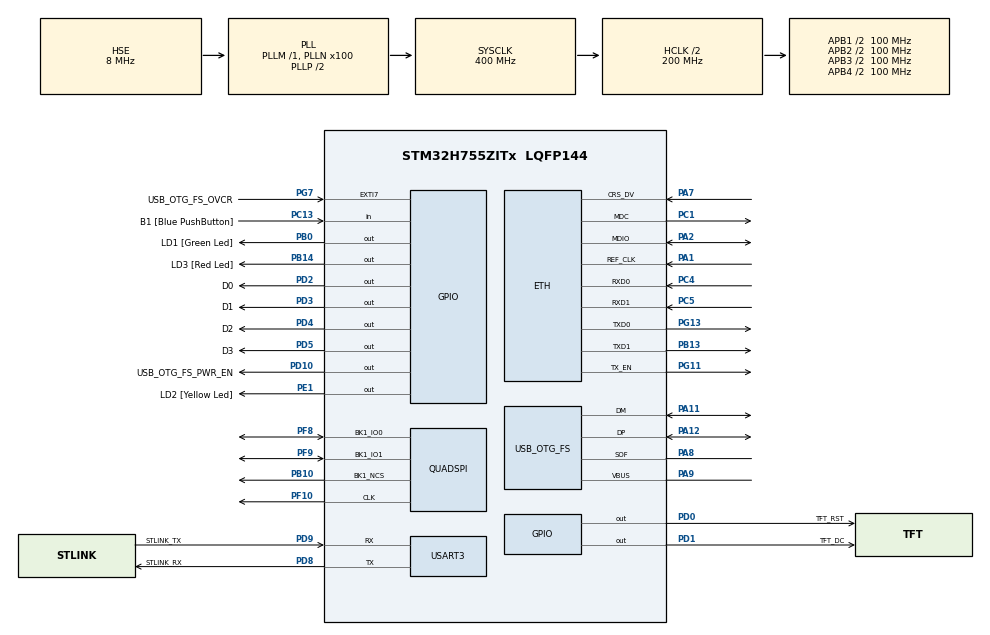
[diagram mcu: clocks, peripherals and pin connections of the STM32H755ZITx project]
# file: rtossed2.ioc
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CortexM4.IPs=FATFS_M4\:I,FREERTOS_M4\:I,IWDG2\:I,RCC,WWDG2\:I,DMA,BDMA,MDMA,NVIC2\:I,ETH,USART3,DEBUG,USB_DEVICE_M4\:I,USB_HOST_M4\:I,PDM2PCM_M4\:I,PWR,RESMGR_UTILITY,SYS_M4\:I,CORTEX_M4\:I,OPENAMP_M4\:I,VREFBUF,GPIO
CortexM7.IPs=FATFS_M7\:I,FREERTOS_M7\:I,IWDG1\:I,RCC\:I,WWDG1\:I,DMA\:I,BDMA\:I,MDMA\:I,NVIC1\:I,ETH\:I,USART3\:I,USB_OTG_FS\:I,SYS\:I,CORTEX_M7\:I,DEBUG\:I,USB_DEVICE_M7\:I,USB_HOST_M7\:I,PDM2PCM_M7\:I,PWR\:I,RESMGR_UTILITY\:I,OPENAMP_M7\:I,VREFBUF\:I,GPIO\:I,DMA2D\:I,QUADSPI\:I,TIM15\:I
DMA2D.ColorMode=DMA2D_OUTPUT_RGB565
ETH.MediaInterface=HAL_ETH_RMII_MODE
Mcu.Family=STM32H7
Mcu.Name=STM32H755ZITx
Mcu.Package=LQFP144
Mdma.MDMA_Channel0.QUADSPI_FIFO_TH.0.BlockCount=0
Mdma.MDMA_Channel0.QUADSPI_FIFO_TH.0.BlockDataLength=40960
Mdma.MDMA_Channel0.QUADSPI_FIFO_TH.0.BufferTransferLength=1
Mdma.MDMA_Channel0.QUADSPI_FIFO_TH.0.CircularMode=MDMA_LINEAR_LIST
Mdma.MDMA_Channel0.QUADSPI_FIFO_TH.0.DataAlignment=MDMA_DATAALIGN_PACKENABLE
Mdma.MDMA_Channel0.QUADSPI_FIFO_TH.0.DestBlockAddressOffset=0
Mdma.MDMA_Channel0.QUADSPI_FIFO_TH.0.DestBurst=MDMA_DEST_BURST_SINGLE
Mdma.MDMA_Channel0.QUADSPI_FIFO_TH.0.DestDataSize=MDMA_DEST_DATASIZE_BYTE
Mdma.MDMA_Channel0.QUADSPI_FIFO_TH.0.DestinationInc=MDMA_DEST_INC_BYTE
Mdma.MDMA_Channel0.QUADSPI_FIFO_TH.0.DstAddress=0
Mdma.MDMA_Channel0.QUADSPI_FIFO_TH.0.Endianness=MDMA_LITTLE_ENDIANNESS_PRESERVE
Mdma.MDMA_Channel0.QUADSPI_FIFO_TH.0.Instance=MDMA_Channel0
Mdma.MDMA_Channel0.QUADSPI_FIFO_TH.0.MaskAddress=0
Mdma.MDMA_Channel0.QUADSPI_FIFO_TH.0.MaskData=0
Mdma.MDMA_Channel0.QUADSPI_FIFO_TH.0.Priority=MDMA_PRIORITY_VERY_HIGH
Mdma.MDMA_Channel0.QUADSPI_FIFO_TH.0.Rank=First
Mdma.MDMA_Channel0.QUADSPI_FIFO_TH.0.SourceBlockAddressOffset=0
Mdma.MDMA_Channel0.QUADSPI_FIFO_TH.0.SourceBurst=MDMA_SOURCE_BURST_SINGLE
Mdma.MDMA_Channel0.QUADSPI_FIFO_TH.0.SourceDataSize=MDMA_SRC_DATASIZE_BYTE
Mdma.MDMA_Channel0.QUADSPI_FIFO_TH.0.SourceInc=MDMA_SRC_INC_BYTE
Mdma.MDMA_Channel0.QUADSPI_FIFO_TH.0.SrcAddress=0
Mdma.MDMA_Channel0.QUADSPI_FIFO_TH.0.TransferTriggerMode=MDMA_BUFFER_TRANSFER
Mdma.MDMA_Channel0.Request0=QUADSPI_FIFO_TH
Mdma.MDMA_Channel0.RequestsNb=1
Mdma.RequestSet0=MDMA_Channel0
Mdma.RequestSetsNb=1
NVIC1.MDMA_IRQn=true\:0\:0\:false\:false\:true\:false\:true\:true
NVIC1.OTG_FS_IRQn=true\:0\:0\:false\:false\:true\:false\:true\:true
NVIC1.PriorityGroup=NVIC_PRIORITYGROUP_4
NVIC1.QUADSPI_IRQn=true\:0\:0\:false\:false\:true\:true\:true\:true
NVIC1.TIM15_IRQn=true\:0\:0\:false\:false\:true\:true\:true\:true
NVIC2.PriorityGroup=NVIC_PRIORITYGROUP_4
PA1.Mode=RMII
PA1.PinAttribute=CortexM7
PA1.Signal=ETH_REF_CLK
PA11.Mode=Device_Only
PA11.PinAttribute=CortexM7
PA11.Signal=USB_OTG_FS_DM
PA12.Mode=Device_Only
PA12.PinAttribute=CortexM7
PA12.Signal=USB_OTG_FS_DP
PA2.Mode=RMII
PA2.PinAttribute=CortexM7
PA2.Signal=ETH_MDIO
PA7.Mode=RMII
PA7.PinAttribute=CortexM7
PA7.Signal=ETH_CRS_DV
PA8.Mode=Activate_SOF_FS
PA8.PinAttribute=CortexM7
PA8.Signal=USB_OTG_FS_SOF
PA9.Mode=Activate_VBUS
PA9.PinAttribute=CortexM7
PA9.Signal=USB_OTG_FS_VBUS
PB0.GPIO_Label=LD1 [Green Led]
PB0.PinAttribute=Free
PB0.Signal=GPIO_Output
PB10.Mode=Single Bank 1 2IOs
PB10.PinAttribute=CortexM7
PB10.Signal=QUADSPI_BK1_NCS
PB13.Mode=RMII
PB13.PinAttribute=CortexM7
PB13.Signal=ETH_TXD1
PB14.GPIO_Label=LD3 [Red Led]
PB14.PinAttribute=Free
PB14.Signal=GPIO_Output
PC1.Mode=RMII
PC1.PinAttribute=CortexM7
PC1.Signal=ETH_MDC
PC13.GPIO_Label=B1 [Blue PushButton]
PC13.PinAttribute=Free
PC13.Signal=GPIO_Input
PC14-OSC32_IN\ (OSC32_IN).Mode=LSE-External-Oscillator
PC14-OSC32_IN\ (OSC32_IN).PinAttribute=CortexM7
PC14-OSC32_IN\ (OSC32_IN).Signal=RCC_OSC32_IN
PC15-OSC32_OUT\ (OSC32_OUT).Mode=LSE-External-Oscillator
PC15-OSC32_OUT\ (OSC32_OUT).PinAttribute=CortexM7
PC15-OSC32_OUT\ (OSC32_OUT).Signal=RCC_OSC32_OUT
PC4.Mode=RMII
PC4.PinAttribute=CortexM7
PC4.Signal=ETH_RXD0
PC5.Mode=RMII
PC5.PinAttribute=CortexM7
PC5.Signal=ETH_RXD1
PD0.GPIO_Label=TFT_RST
PD0.PinAttribute=Free
PD0.Signal=GPIO_Output
PD1.GPIO_Label=TFT_DC
PD1.GPIO_Speed=GPIO_SPEED_FREQ_VERY_HIGH
PD1.PinAttribute=Free
PD1.Signal=GPIO_Output
PD10.GPIO_Label=USB_OTG_FS_PWR_EN
PD10.PinAttribute=Free
PD10.Signal=GPIO_Output
PD2.GPIO_Label=D0
PD2.GPIO_Speed=GPIO_SPEED_FREQ_VERY_HIGH
PD2.PinAttribute=Free
PD2.Signal=GPIO_Output
PD3.GPIO_Label=D1
PD3.GPIO_Speed=GPIO_SPEED_FREQ_VERY_HIGH
PD3.PinAttribute=Free
PD3.Signal=GPIO_Output
PD4.GPIO_Label=D2
PD4.GPIO_Speed=GPIO_SPEED_FREQ_VERY_HIGH
PD4.PinAttribute=Free
PD4.Signal=GPIO_Output
PD5.GPIO_Label=D3
PD5.GPIO_Speed=GPIO_SPEED_FREQ_VERY_HIGH
PD5.PinAttribute=Free
PD5.Signal=GPIO_Output
PD8.GPIO_Label=STLINK_RX
PD8.Mode=Asynchronous
PD8.PinAttribute=CortexM7
PD8.Signal=USART3_TX
PD9.GPIO_Label=STLINK_TX
PD9.Mode=Asynchronous
PD9.PinAttribute=CortexM7
PD9.Signal=USART3_RX
PE1.GPIO_Label=LD2 [Yellow Led]
PE1.PinAttribute=Free
PE1.Signal=GPIO_Output
PF10.Mode=Single Bank 1 2IOs
PF10.PinAttribute=CortexM7
PF10.Signal=QUADSPI_CLK
PF8.Mode=Single Bank 1 2IOs
PF8.PinAttribute=CortexM7
PF8.Signal=QUADSPI_BK1_IO0
PF9.Mode=Single Bank 1 2IOs
PF9.PinAttribute=CortexM7
PF9.Signal=QUADSPI_BK1_IO1
PG11.Mode=RMII
PG11.PinAttribute=CortexM7
PG11.Signal=ETH_TX_EN
PG13.Mode=RMII
PG13.PinAttribute=CortexM7
PG13.Signal=ETH_TXD0
PG7.GPIO_Label=USB_OTG_FS_OVCR
PG7.PinAttribute=Free
PG7.Signal=GPXTI7
PH0-OSC_IN\ (PH0).Mode=HSE-External-Clock-Source
PH0-OSC_IN\ (PH0).PinAttribute=CortexM7
PH0-OSC_IN\ (PH0).Signal=RCC_OSC_IN
PH1-OSC_OUT\ (PH1).PinAttribute=CortexM7
PH1-OSC_OUT\ (PH1).Signal=RCC_OSC_OUT
ProjectManager.HeapSize=M4-0x2000,M7-0x2000
ProjectManager.StackSize=M4-0x4000,M7-0x4000
ProjectManager.TargetToolchain=Makefile
QUADSPI.ClockPrescaler=16
QUADSPI.FlashSize=15
RCC.ADCFreq_Value=16125000
RCC.APB1Freq_Value=100000000
RCC.APB2Freq_Value=100000000
RCC.APB3Freq_Value=100000000
RCC.APB4Freq_Value=100000000
RCC.CortexFreq_Value=400000000
RCC.D1PPRE=RCC_APB3_DIV2
RCC.D2PPRE1=RCC_APB1_DIV2
RCC.D2PPRE2=RCC_APB2_DIV2
RCC.D3PPRE=RCC_APB4_DIV2
RCC.DIVM1=1
RCC.DIVM3=1
RCC.DIVN1=100
RCC.DIVN3=24
RCC.DIVQ1=4
RCC.DIVQ3=4
RCC.HCLKFreq_Value=200000000
RCC.HPRE=RCC_HCLK_DIV2
RCC.HSE_VALUE=8000000
RCC.PLL2FRACN=0
RCC.PLL3FRACN=0
RCC.PLLFRACN=0
RCC.PWR_Regulator_Voltage_Scale=PWR_REGULATOR_VOLTAGE_SCALE1
RCC.SYSCLKFreq_VALUE=400000000
RCC.SYSCLKSource=RCC_SYSCLKSOURCE_PLLCLK
RCC.SupplySource=PWR_DIRECT_SMPS_SUPPLY
RCC.USBCLockSelection=RCC_USBCLKSOURCE_PLL3
RCC.USBFreq_Value=48000000
TIM15.Period=50000
TIM15.Prescaler=266
USART3.VirtualMode-Asynchronous=VM_ASYNC
USB_DEVICE_M7.CLASS_NAME_FS=CDC
USB_DEVICE_M7.PRODUCT_STRING_CDC_FS=ECE331 Virtual ComPort
USB_DEVICE_M7.VirtualMode-CDC_FS=Cdc
USB_DEVICE_M7.VirtualModeFS=Cdc_FS
USB_OTG_FS.VirtualMode=Device_Only
VP_DMA2D_VS_DMA2D.Mode=DMA2D_Activate
VP_SYS_M4_VS_Systick.Mode=SysTick
VP_TIM15_VS_ClockSourceINT.Mode=Internal
VP_USB_DEVICE_M7_VS_USB_DEVICE_CDC_FS.Mode=CDC_FS
board=NUCLEO-H755ZI-Q

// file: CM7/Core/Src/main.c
/* USER CODE BEGIN Header */
/**
  ******************************************************************************
  * @file           : main.c
  * @brief          : Main program body
  ******************************************************************************
  * @attention
  *
  * Copyright (c) 2024 STMicroelectronics.
  * All rights reserved.
  *
  * This software is licensed under terms that can be found in the LICENSE file
  * in the root directory of this software component.
  * If no LICENSE file comes with this software, it is provided AS-IS.
  *
  ******************************************************************************
  */
/* USER CODE END Header */
#include "main.h"
#include "dma2d.h"
#include "eth.h"
#include "mdma.h"
#include "quadspi.h"
#include "tim.h"
#include "usb_device.h"
#include "gpio.h"
#include "Adafruit_ST7735.h"
#include "frame_buffer.h"
#include "graphics.h"
#include "usart.h"
#include "sh.h"
#include "progs.h"
#include "process.h"

//Make Memory locations visible
const SCnSCB_Type *scnscb = SCnSCB;
const SCB_Type *scb = SCB;
const SysTick_Type *systick = SysTick;
const NVIC_Type *nvic = NVIC;
const ITM_Type *itm = ITM;
const DWT_Type *dwt = DWT;
const TPI_Type *tpi = TPI;
const CoreDebug_Type *coredebug = CoreDebug;
const MPU_Type *mpu = MPU;
const FPU_Type *fpu = FPU;

/* USER CODE BEGIN PD */

#ifndef HSEM_ID_0
#define HSEM_ID_0 (0U)		/* HW semaphore 0 */
#endif

/* USER CODE END PD */

volatile int kready=0;
extern const uint32_t _eustack[];

void SystemClock_Config(void);

/* USER CODE BEGIN 0 */

int main(void)
{
	/* USER CODE BEGIN 1 */
	//char ch;
	/* USER CODE END 1 */
/* USER CODE BEGIN Boot_Mode_Sequence_0 */
	int32_t timeout;
/* USER CODE END Boot_Mode_Sequence_0 */

/* USER CODE BEGIN Boot_Mode_Sequence_1 */
	/* Wait until CPU2 boots and enters in stop mode or timeout */
	timeout = 0xFFFF;
	while ((__HAL_RCC_GET_FLAG(RCC_FLAG_D2CKRDY) != RESET)
	       && (timeout-- > 0)) ;
	if (timeout < 0) {
		Error_Handler();
	}
/* USER CODE END Boot_Mode_Sequence_1 */
	/* MCU Configuration-------------------------------------------------------- */

	/* Reset of all peripherals, Initializes the Flash interface and the Systick. */
	HAL_Init();

	/* Configure the system clock */
	SystemClock_Config();
/* USER CODE BEGIN Boot_Mode_Sequence_2 */
/* When system initialization is finished, Cortex-M7 will release Cortex-M4 by means of
HSEM notification */
/*HW semaphore Clock enable*/
	__HAL_RCC_HSEM_CLK_ENABLE();
/*Take HSEM */
	HAL_HSEM_FastTake(HSEM_ID_0);
/*Release HSEM in order to notify the CPU2(CM4)*/
	HAL_HSEM_Release(HSEM_ID_0, 0);
/* wait until CPU2 wakes up from stop mode */
	timeout = 0xFFFF;
	while ((__HAL_RCC_GET_FLAG(RCC_FLAG_D2CKRDY) == RESET)
	       && (timeout-- > 0)) ;
	if (timeout < 0) {
		Error_Handler();
	}
/* USER CODE END Boot_Mode_Sequence_2 */

	/* Initialize all configured peripherals */
	MX_GPIO_Init();
	MX_MDMA_Init();
	MX_USART3_UART_Init();
	MX_DMA2D_Init();
	MX_ETH_Init();
	MX_QUADSPI_Init();
	MX_TIM15_Init();
	MX_USB_DEVICE_Init();
	char buf[48] = "Hello World";
	/* USER CODE BEGIN 2 */

	/* Enable I & D Caches */
	SCB_EnableICache();
	SCB_EnableDCache();

	/* Initialize TFT Screen*/
	graphics_init(160, 128);
	graphics_setTextWrap(false);
	graphics_setTextColor(graphics_mk_color(0x0F800));
	graphics_setTextSize(2);
	memset(frame, 0x00, 160 * 128 * 2);
	Adafruit_ST7735_init();
	qspi_write_frame(frame);
	HAL_TIM_Base_Start_IT(&htim15);
	HAL_Delay(1000);
	frame_buffer_fillRect(10, 10, 25, 25, 0xFFFF);
	graphics_drawText(buf, 10, 75);

	/* Disable buffering*/
	setvbuf(stdout, NULL, _IONBF, 0);
	setvbuf(stdin, NULL, _IOLBF, 0);
	HAL_Delay(2500);

	/* Set PSP to _eustack */
	__set_PSP((int) _eustack);

	/* USER CODE END 2 */
	/* Infinite loop */
	/* ALLOW USER SPACE PROCESSES */
	proc_table_init();
	kready = 1;
	//procTable_init();

	while (1) {
		HAL_GPIO_TogglePin(LD1_GPIO_Port, LD1_Pin);
		//HAL_GPIO_TogglePin(LDX_GPIO_Port, LDX_Pin);
		HAL_Delay(100);
		//shell();
	}
}

void SystemClock_Config(void)
{
	RCC_OscInitTypeDef RCC_OscInitStruct = { 0 };
	RCC_ClkInitTypeDef RCC_ClkInitStruct = { 0 };

  /** Supply configuration update enable
  */
	HAL_PWREx_ConfigSupply(PWR_DIRECT_SMPS_SUPPLY);

  /** Configure the main internal regulator output voltage
  */
	__HAL_PWR_VOLTAGESCALING_CONFIG(PWR_REGULATOR_VOLTAGE_SCALE1);

	while (!__HAL_PWR_GET_FLAG(PWR_FLAG_VOSRDY)) {
	}

  /** Initializes the RCC Oscillators according to the specified parameters
  * in the RCC_OscInitTypeDef structure.
  */
	RCC_OscInitStruct.OscillatorType = RCC_OSCILLATORTYPE_HSE;
	RCC_OscInitStruct.HSEState = RCC_HSE_BYPASS;
	RCC_OscInitStruct.PLL.PLLState = RCC_PLL_ON;
	RCC_OscInitStruct.PLL.PLLSource = RCC_PLLSOURCE_HSE;
	RCC_OscInitStruct.PLL.PLLM = 1;
	RCC_OscInitStruct.PLL.PLLN = 100;
	RCC_OscInitStruct.PLL.PLLP = 2;
	RCC_OscInitStruct.PLL.PLLQ = 4;
	RCC_OscInitStruct.PLL.PLLR = 2;
	RCC_OscInitStruct.PLL.PLLRGE = RCC_PLL1VCIRANGE_3;
	RCC_OscInitStruct.PLL.PLLVCOSEL = RCC_PLL1VCOWIDE;
	RCC_OscInitStruct.PLL.PLLFRACN = 0;
	if (HAL_RCC_OscConfig(&RCC_OscInitStruct) != HAL_OK) {
		Error_Handler();
	}

				/** Initializes the CPU, AHB and APB buses clocks
  */
	RCC_ClkInitStruct.ClockType = RCC_CLOCKTYPE_HCLK | RCC_CLOCKTYPE_SYSCLK
	    | RCC_CLOCKTYPE_PCLK1 | RCC_CLOCKTYPE_PCLK2
	    | RCC_CLOCKTYPE_D3PCLK1 | RCC_CLOCKTYPE_D1PCLK1;
	RCC_ClkInitStruct.SYSCLKSource = RCC_SYSCLKSOURCE_PLLCLK;
	RCC_ClkInitStruct.SYSCLKDivider = RCC_SYSCLK_DIV1;
	RCC_ClkInitStruct.AHBCLKDivider = RCC_HCLK_DIV2;
	RCC_ClkInitStruct.APB3CLKDivider = RCC_APB3_DIV2;
	RCC_ClkInitStruct.APB1CLKDivider = RCC_APB1_DIV2;
	RCC_ClkInitStruct.APB2CLKDivider = RCC_APB2_DIV2;
	RCC_ClkInitStruct.APB4CLKDivider = RCC_APB4_DIV2;

	if (HAL_RCC_ClockConfig(&RCC_ClkInitStruct, FLASH_LATENCY_2) != HAL_OK) {
		Error_Handler();
	}
}

void Error_Handler(void)
{
	/* USER CODE BEGIN Error_Handler_Debug */
	/* User can add his own implementation to report the HAL error return state */
	__disable_irq();
	while (1) {
		HAL_GPIO_TogglePin(GPIOB, GPIO_PIN_14);

	}
	/* USER CODE END Error_Handler_Debug */
}
